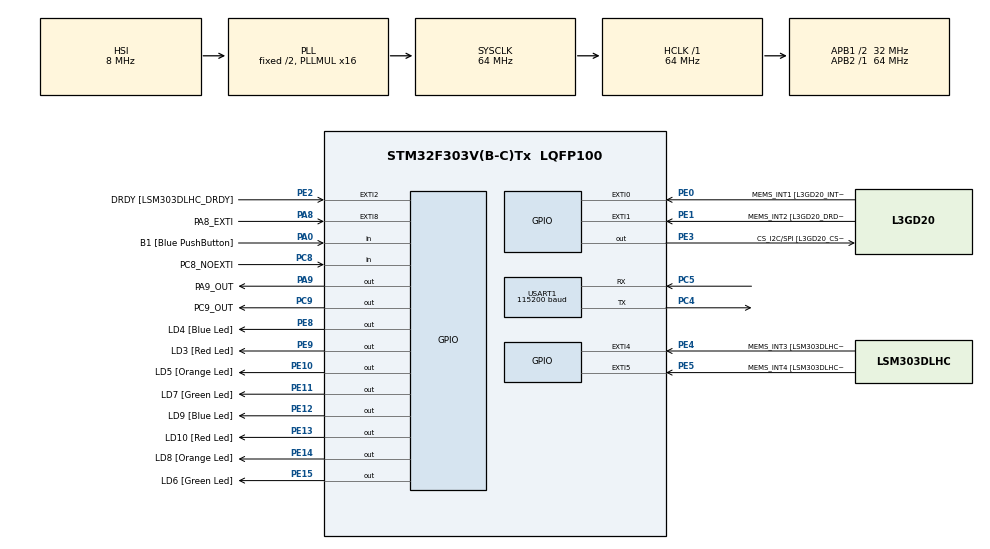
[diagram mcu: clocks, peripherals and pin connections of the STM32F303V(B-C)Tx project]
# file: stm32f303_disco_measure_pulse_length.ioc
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Mcu.Family=STM32F3
Mcu.Name=STM32F303V(B-C)Tx
Mcu.Package=LQFP100
NVIC.EXTI9_5_IRQn=true\:0\:0\:false\:false\:true\:true\:true\:true
NVIC.PriorityGroup=NVIC_PRIORITYGROUP_0
NVIC.TIM6_DAC_IRQn=true\:0\:0\:false\:false\:true\:true\:true\:true
PA0.GPIO_Label=B1 [Blue PushButton]
PA0.GPIO_Mode=GPIO_MODE_INPUT
PA0.GPIO_PuPd=GPIO_NOPULL
PA0.Signal=GPIO_Input
PA11.GPIO_Label=DM
PA11.Signal=USB_DM
PA12.GPIO_Label=DP
PA12.Signal=USB_DP
PA13.GPIO_Label=SWDIO
PA13.Mode=Trace_Asynchronous_SW
PA13.Signal=SYS_JTMS-SWDIO
PA14.GPIO_Label=SWCLK
PA14.Mode=Trace_Asynchronous_SW
PA14.Signal=SYS_JTCK-SWCLK
PA5.GPIO_Label=SPI1_SCK [L3GD20_SCL/SPC]
PA5.GPIO_Mode=GPIO_MODE_AF_PP
PA5.GPIO_PuPd=GPIO_NOPULL
PA5.GPIO_Speed=GPIO_SPEED_FREQ_LOW
PA5.Signal=SPI1_SCK
PA6.GPIO_Label=SPI1_MISO [L3GD20_SA0/SDO]
PA6.GPIO_Mode=GPIO_MODE_AF_PP
PA6.GPIO_PuPd=GPIO_NOPULL
PA6.GPIO_Speed=GPIO_SPEED_FREQ_LOW
PA6.Signal=SPI1_MISO
PA7.GPIO_Label=SPI1_MISO [L3GD20_SDA/SDI/SDO]
PA7.GPIO_Mode=GPIO_MODE_AF_PP
PA7.GPIO_PuPd=GPIO_NOPULL
PA7.GPIO_Speed=GPIO_SPEED_FREQ_LOW
PA7.Signal=SPI1_MOSI
PA8.GPIO_Label=PA8_EXTI
PA8.GPIO_ModeDefaultEXTI=GPIO_MODE_IT_RISING_FALLING
PA8.GPIO_PuPd=GPIO_PULLDOWN
PA8.Signal=GPXTI8
PA9.GPIO_Label=PA9_OUT
PA9.GPIO_PuPd=GPIO_PULLDOWN
PA9.Signal=GPIO_Output
PB3.GPIO_Label=SWO
PB3.Mode=Trace_Asynchronous_SW
PB3.Signal=SYS_JTDO-TRACESWO
PB6.GPIO_FM6=__NULL
PB6.GPIO_Label=I2C1_SCL [LSM303DLHC_SCL]
PB6.GPIO_Mode=GPIO_MODE_AF_OD
PB6.GPIO_PuPd=GPIO_NOPULL
PB6.GPIO_Speed=GPIO_SPEED_FREQ_LOW
PB6.Signal=I2C1_SCL
PB7.GPIO_FM7=__NULL
PB7.GPIO_Label=I2C1_SDA [LSM303DLHC_SDA]
PB7.GPIO_Mode=GPIO_MODE_AF_OD
PB7.GPIO_PuPd=GPIO_NOPULL
PB7.GPIO_Speed=GPIO_SPEED_FREQ_LOW
PB7.Signal=I2C1_SDA
PC14-OSC32_IN.GPIO_Label=OSC32_IN
PC14-OSC32_IN.Signal=RCC_OSC32_IN
PC15-OSC32_OUT.GPIO_Label=OSC32_OUT
PC15-OSC32_OUT.Signal=RCC_OSC32_OUT
PC4.Mode=Asynchronous
PC4.Signal=USART1_TX
PC5.Mode=Asynchronous
PC5.Signal=USART1_RX
PC8.GPIO_Label=PC8_NOEXTI
PC8.GPIO_PuPd=GPIO_PULLDOWN
PC8.Signal=GPIO_Input
PC9.GPIO_Label=PC9_OUT
PC9.GPIO_PuPd=GPIO_PULLDOWN
PC9.Signal=GPIO_Output
PE0.GPIO_Label=MEMS_INT1 [L3GD20_INT1]
PE0.GPIO_ModeDefaultEXTI=GPIO_MODE_EVT_RISING
PE0.GPIO_PuPd=GPIO_NOPULL
PE0.Signal=GPXTI0
PE1.GPIO_Label=MEMS_INT2 [L3GD20_DRDY/INT2]
PE1.GPIO_ModeDefaultEXTI=GPIO_MODE_EVT_RISING
PE1.GPIO_PuPd=GPIO_NOPULL
PE1.Signal=GPXTI1
PE10.GPIO_Label=LD5 [Orange Led]
PE10.GPIO_ModeDefaultOutputPP=GPIO_MODE_OUTPUT_PP
PE10.GPIO_PuPd=GPIO_NOPULL
PE10.GPIO_Speed=GPIO_SPEED_FREQ_LOW
PE10.Signal=GPIO_Output
PE11.GPIO_Label=LD7 [Green Led]
PE11.GPIO_ModeDefaultOutputPP=GPIO_MODE_OUTPUT_PP
PE11.GPIO_PuPd=GPIO_NOPULL
PE11.GPIO_Speed=GPIO_SPEED_FREQ_LOW
PE11.Signal=GPIO_Output
PE12.GPIO_Label=LD9 [Blue Led]
PE12.GPIO_ModeDefaultOutputPP=GPIO_MODE_OUTPUT_PP
PE12.GPIO_PuPd=GPIO_NOPULL
PE12.GPIO_Speed=GPIO_SPEED_FREQ_LOW
PE12.Signal=GPIO_Output
PE13.GPIO_Label=LD10 [Red Led]
PE13.GPIO_ModeDefaultOutputPP=GPIO_MODE_OUTPUT_PP
PE13.GPIO_PuPd=GPIO_NOPULL
PE13.GPIO_Speed=GPIO_SPEED_FREQ_LOW
PE13.Signal=GPIO_Output
PE14.GPIO_Label=LD8 [Orange Led]
PE14.GPIO_ModeDefaultOutputPP=GPIO_MODE_OUTPUT_PP
PE14.GPIO_PuPd=GPIO_NOPULL
PE14.GPIO_Speed=GPIO_SPEED_FREQ_LOW
PE14.Signal=GPIO_Output
PE15.GPIO_Label=LD6 [Green Led]
PE15.GPIO_ModeDefaultOutputPP=GPIO_MODE_OUTPUT_PP
PE15.GPIO_PuPd=GPIO_NOPULL
PE15.GPIO_Speed=GPIO_SPEED_FREQ_LOW
PE15.Signal=GPIO_Output
PE2.GPIO_Label=DRDY [LSM303DLHC_DRDY]
PE2.GPIO_ModeDefaultEXTI=GPIO_MODE_EVT_RISING
PE2.GPIO_PuPd=GPIO_NOPULL
PE2.Signal=GPXTI2
PE3.GPIO_Label=CS_I2C/SPI [L3GD20_CS_I2C/SPI]
PE3.GPIO_ModeDefaultOutputPP=GPIO_MODE_OUTPUT_PP
PE3.GPIO_PuPd=GPIO_NOPULL
PE3.GPIO_Speed=GPIO_SPEED_FREQ_LOW
PE3.Signal=GPIO_Output
PE4.GPIO_Label=MEMS_INT3 [LSM303DLHC_INT1]
PE4.GPIO_ModeDefaultEXTI=GPIO_MODE_EVT_RISING
PE4.GPIO_PuPd=GPIO_NOPULL
PE4.Signal=GPXTI4
PE5.GPIO_Label=MEMS_INT4 [LSM303DLHC_INT2]
PE5.GPIO_ModeDefaultEXTI=GPIO_MODE_EVT_RISING
PE5.GPIO_PuPd=GPIO_NOPULL
PE5.Signal=GPXTI5
PE8.GPIO_Label=LD4 [Blue Led]
PE8.GPIO_ModeDefaultOutputPP=GPIO_MODE_OUTPUT_PP
PE8.GPIO_PuPd=GPIO_NOPULL
PE8.GPIO_Speed=GPIO_SPEED_FREQ_LOW
PE8.Signal=GPIO_Output
PE9.GPIO_Label=LD3 [Red Led]
PE9.GPIO_ModeDefaultOutputPP=GPIO_MODE_OUTPUT_PP
PE9.GPIO_PuPd=GPIO_NOPULL
PE9.GPIO_Speed=GPIO_SPEED_FREQ_LOW
PE9.Signal=GPIO_Output
PF0-OSC_IN.GPIO_Label=OSC_IN
PF0-OSC_IN.Signal=RCC_OSC_IN
PF1-OSC_OUT.GPIO_Label=OSC_OUT
PF1-OSC_OUT.Signal=RCC_OSC_OUT
ProjectManager.HeapSize=0x200
ProjectManager.StackSize=0x400
ProjectManager.TargetToolchain=STM32CubeIDE
RCC.AHBFreq_Value=64000000
RCC.APB1CLKDivider=RCC_HCLK_DIV2
RCC.APB1Freq_Value=32000000
RCC.APB1TimFreq_Value=64000000
RCC.APB2Freq_Value=64000000
RCC.APB2TimFreq_Value=64000000
RCC.CortexFreq_Value=64000000
RCC.HCLKFreq_Value=64000000
RCC.HSE_VALUE=8000000
RCC.HSI_VALUE=8000000
RCC.LSE_VALUE=32768
RCC.PLLMUL=RCC_PLL_MUL16
RCC.SYSCLKFreq_VALUE=64000000
RCC.SYSCLKSourceVirtual=RCC_SYSCLKSOURCE_PLLCLK
RCC.USBFreq_Value=64000000
TIM6.Period=320-1
TIM6.Prescaler=1
TIM7.Prescaler=1
USART1.BaudRate=115200
USART1.OverrunDisableParam=ADVFEATURE_OVERRUN_DISABLE
USART1.VirtualMode-Asynchronous=VM_ASYNC
VP_TIM6_VS_ClockSourceINT.Mode=Enable_Timer
VP_TIM7_VS_ClockSourceINT.Mode=Enable_Timer
board=STM32F3DISCOVERY

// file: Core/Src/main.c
/* USER CODE BEGIN Header */
/**
  ******************************************************************************
  * @file           : main.c
  * @brief          : Main program body
  ******************************************************************************
  * @attention
  *
  * Copyright (c) 2023 STMicroelectronics.
  * All rights reserved.
  *
  * This software is licensed under terms that can be found in the LICENSE file
  * in the root directory of this software component.
  * If no LICENSE file comes with this software, it is provided AS-IS.
  *
  ******************************************************************************
  */
/* USER CODE END Header */
#include "main.h"
#include "tim.h"
#include "usart.h"
#include "gpio.h"

/* USER CODE BEGIN Includes */

#include <stdint.h>
#include <stdbool.h>
#include <stdio.h>
#include <string.h>

/* USER CODE END Includes */

void SystemClock_Config(void);

/* USER CODE BEGIN 0 */

volatile uint32_t tim6_cnt = 0; 	// 32e6 / 32e1 => 10us resolution
volatile bool pc8_pulse_detected = false;
volatile uint32_t pc8_pulse_duration = 0; 	// noexti --> detect in tim6_interrupt
volatile uint32_t pa8_pulse_duration = 0; 	// exti --> count based tim6
volatile uint32_t pc8_pulse_duration_rising_edge = 0;
volatile uint32_t pa8_pulse_duration_rising_edge = 0;

void HAL_GPIO_EXTI_Callback(uint16_t GPIO_Pin) {

	if(GPIO_Pin == PA8_EXTI_Pin) {
		if(HAL_GPIO_ReadPin(PA8_EXTI_GPIO_Port, PA8_EXTI_Pin) == GPIO_PIN_SET) {
			pa8_pulse_duration_rising_edge = tim6_cnt;
			// pa8_pulse_detected not needed, function called 2 times only --> @rising_edge and @falling_edge
		}
		if(HAL_GPIO_ReadPin(PA8_EXTI_GPIO_Port, PA8_EXTI_Pin) == GPIO_PIN_RESET) {
			if(tim6_cnt >= pa8_pulse_duration_rising_edge) {
				// no wrap around 1e6
				pa8_pulse_duration = tim6_cnt - pa8_pulse_duration_rising_edge;
			} else {
				// wrap around 1e6
				pa8_pulse_duration = 1000000 - pa8_pulse_duration_rising_edge + tim6_cnt;
			}
		}
	}

}

// valid range [0 ... 2047]
void delay_us(uint32_t us) {
	// NOTE: APB1 fmax = 32MHz, but timer clocks are x2 => 64MHz
	TIM7->CR1 = TIM_CR1_OPM_Msk; 	// one pulse mode, stop after ARR reached
	TIM7->SR = 0;
	TIM7->CNT = 0;
	TIM7->ARR = (us << 5) - 1; 		// 64MHz, prescaler = 2, 32 counts per 1us
	TIM7->CR1 = TIM_CR1_CEN_Msk; 	// start
	while(TIM7->SR != TIM_SR_UIF_Msk) {}
}

// without echo
int __io_putchar(int ch) {
	uint8_t u8 = ch;
	HAL_StatusTypeDef ret = HAL_UART_Transmit(&huart1, &u8, 1, HAL_MAX_DELAY);
	if(ret == HAL_OK) {
		return ch;
	} else {
		return -1;
	}
}

// with echo
int __io_getchar(void) {
	uint8_t ch = 0;
	HAL_StatusTypeDef ret = HAL_UART_Receive(&huart1, &ch, 1, HAL_MAX_DELAY);
	if(ret == HAL_OK) {
		// debug
		//HAL_GPIO_WritePin(LD7_GPIO_Port, LD7_Pin, GPIO_PIN_SET);
		return ch;
	} else {
		// debug
		//HAL_GPIO_WritePin(LD5_GPIO_Port, LD5_Pin, GPIO_PIN_SET);
		return -1;
	}
}

int __io_getchar_(void) {
	uint8_t ch = 0;
	HAL_StatusTypeDef hstatus1;
	HAL_StatusTypeDef hstatus2;
	//__HAL_UART_CLEAR_OREFLAG(&huart1);
	hstatus1 = HAL_UART_Receive(&huart1, (uint8_t *)&ch, 1, HAL_MAX_DELAY);
	hstatus2 = HAL_UART_Transmit(&huart1, (uint8_t *)&ch, 1, HAL_MAX_DELAY);
	if((hstatus1 == HAL_OK) && (hstatus2 == HAL_OK)) {
		return ch;
	}
	return -1;
}

/* USER CODE END 0 */

int main(void)
{

  /* MCU Configuration--------------------------------------------------------*/

  /* Reset of all peripherals, Initializes the Flash interface and the Systick. */
  HAL_Init();

  /* Configure the system clock */
  SystemClock_Config();

  /* Initialize all configured peripherals */
  MX_GPIO_Init();
  MX_USART1_UART_Init();
  MX_TIM6_Init();
  MX_TIM7_Init();

  /* Infinite loop */
  /* USER CODE BEGIN WHILE */

  // scanf buffer disabled => _IONBF
  //setvbuf(stdin, NULL, _IONBF, 0);
  // scanf buffer user provided => _IOFBF, evaluated only when full
  //uint8_t stdin_buffer[2] = {0};
  uint8_t stdin_buffer[1] = {0};
  setvbuf(stdin, (char*)&stdin_buffer[0], _IOFBF, sizeof(stdin_buffer));

  uint32_t cnt = 0;
  while (1)
  {
	  HAL_Delay(100);
	  cnt += 1;
	  printf("cnt = %lu, tim6 = %5lu, tim6_cnt = %7lu, pc8_pd = %lu, pa8_pd = %lu\n",
			  cnt, TIM6->CNT, tim6_cnt, pc8_pulse_duration*10, pa8_pulse_duration*10);

	  if(USART1->ISR & USART_ISR_RXNE_Msk) {
		  // USART1->ISR &= ~USART_ISR_RXNE_Msk; 	// does not clear the bit
		  // this bit is cleared by reading from RDR
		  //uint8_t ch = USART1->RDR;
		  // or by writing to RQR
		  //USART1->RQR |= USART_RQR_RXFRQ_Msk;
		  // or one of above will be done implicitly by using getchar
		  // however when using getchar the input buffer is used and its must be set to 1 via
		  // setvbuf(stdin, (char*)&stdin_buffer[0], _IOFBF, 1);
		  // or the input buffer must be disabled via
		  // setvbuf(stdin, NULL, _IONBF, 0);
		  // NOTE: in non-interrupt modus with delay in main loop the input buffer not fast enough
		  uint8_t u8 = getchar();

		  switch(u8) {
		  case 'r':
			  cnt = 0;
			  break;
		  case 's':
			  // HAL_TIM_Base_Start(&htim6);
			  HAL_TIM_Base_Start_IT(&htim6);
			  // HAL_NVIC_EnableIRQ(TIM6_DAC_IRQn); 	// already done in tim.c
			  break;
		  case 'S':
			  break;
		  case '0':
			  pc8_pulse_duration = 0;
			  pa8_pulse_duration = 0;
			  break;
		  case '1':
			  HAL_GPIO_WritePin(PC9_OUT_GPIO_Port, PC9_OUT_Pin, GPIO_PIN_SET);
			  HAL_GPIO_WritePin(PA9_OUT_GPIO_Port, PA9_OUT_Pin, GPIO_PIN_SET);
			  //HAL_Delay(1);
			  delay_us(1000);
			  HAL_GPIO_WritePin(PC9_OUT_GPIO_Port, PC9_OUT_Pin, GPIO_PIN_RESET);
			  HAL_GPIO_WritePin(PA9_OUT_GPIO_Port, PA9_OUT_Pin, GPIO_PIN_RESET);
			  break;
		  case '2':
			  HAL_GPIO_WritePin(PC9_OUT_GPIO_Port, PC9_OUT_Pin, GPIO_PIN_SET);
			  HAL_GPIO_WritePin(PA9_OUT_GPIO_Port, PA9_OUT_Pin, GPIO_PIN_SET);
			  //HAL_Delay(2);
			  delay_us(2000);
			  HAL_GPIO_WritePin(PC9_OUT_GPIO_Port, PC9_OUT_Pin, GPIO_PIN_RESET);
			  HAL_GPIO_WritePin(PA9_OUT_GPIO_Port, PA9_OUT_Pin, GPIO_PIN_RESET);
			  break;
		  case '3':
			  HAL_GPIO_WritePin(PC9_OUT_GPIO_Port, PC9_OUT_Pin, GPIO_PIN_SET);
			  HAL_GPIO_WritePin(PA9_OUT_GPIO_Port, PA9_OUT_Pin, GPIO_PIN_SET);
			  //HAL_Delay(3);
			  delay_us(1000);
			  delay_us(2000);
			  HAL_GPIO_WritePin(PC9_OUT_GPIO_Port, PC9_OUT_Pin, GPIO_PIN_RESET);
			  HAL_GPIO_WritePin(PA9_OUT_GPIO_Port, PA9_OUT_Pin, GPIO_PIN_RESET);
			  break;
		  case '4':
			  HAL_GPIO_WritePin(PC9_OUT_GPIO_Port, PC9_OUT_Pin, GPIO_PIN_SET);
			  HAL_GPIO_WritePin(PA9_OUT_GPIO_Port, PA9_OUT_Pin, GPIO_PIN_SET);
			  //HAL_Delay(4);
			  delay_us(2000);
			  delay_us(2000);
			  HAL_GPIO_WritePin(PC9_OUT_GPIO_Port, PC9_OUT_Pin, GPIO_PIN_RESET);
			  HAL_GPIO_WritePin(PA9_OUT_GPIO_Port, PA9_OUT_Pin, GPIO_PIN_RESET);
			  break;
		  case '5':
			  HAL_GPIO_WritePin(PC9_OUT_GPIO_Port, PC9_OUT_Pin, GPIO_PIN_SET);
			  HAL_GPIO_WritePin(PA9_OUT_GPIO_Port, PA9_OUT_Pin, GPIO_PIN_SET);
			  //HAL_Delay(5);
			  delay_us(1000);
			  delay_us(2000);
			  delay_us(2000);
			  HAL_GPIO_WritePin(PC9_OUT_GPIO_Port, PC9_OUT_Pin, GPIO_PIN_RESET);
			  HAL_GPIO_WritePin(PA9_OUT_GPIO_Port, PA9_OUT_Pin, GPIO_PIN_RESET);
			  break;
		  case '6':
			  break;
		  case '7':
			  break;
		  case '8':
			  break;
		  case '9':
			  break;
		  case 'a':
			  HAL_GPIO_WritePin(LD10_GPIO_Port, LD10_Pin, GPIO_PIN_SET);
			  break;
		  case 'b':
			  HAL_GPIO_WritePin(LD10_GPIO_Port, LD10_Pin, GPIO_PIN_RESET);
			  break;
		  default:
			  break;
		  }

		  // debug purpose
		  //HAL_GPIO_TogglePin(LD10_GPIO_Port, LD10_Pin);

	  }

    /* USER CODE END WHILE */

  }
}

void SystemClock_Config(void)
{
  RCC_OscInitTypeDef RCC_OscInitStruct = {0};
  RCC_ClkInitTypeDef RCC_ClkInitStruct = {0};
  RCC_PeriphCLKInitTypeDef PeriphClkInit = {0};

  /** Initializes the RCC Oscillators according to the specified parameters
  * in the RCC_OscInitTypeDef structure.
  */
  RCC_OscInitStruct.OscillatorType = RCC_OSCILLATORTYPE_HSI;
  RCC_OscInitStruct.HSIState = RCC_HSI_ON;
  RCC_OscInitStruct.HSICalibrationValue = RCC_HSICALIBRATION_DEFAULT;
  RCC_OscInitStruct.PLL.PLLState = RCC_PLL_ON;
  RCC_OscInitStruct.PLL.PLLSource = RCC_PLLSOURCE_HSI;
  RCC_OscInitStruct.PLL.PLLMUL = RCC_PLL_MUL16;
  if (HAL_RCC_OscConfig(&RCC_OscInitStruct) != HAL_OK)
  {
    Error_Handler();
  }

  /** Initializes the CPU, AHB and APB buses clocks
  */
  RCC_ClkInitStruct.ClockType = RCC_CLOCKTYPE_HCLK|RCC_CLOCKTYPE_SYSCLK
                              |RCC_CLOCKTYPE_PCLK1|RCC_CLOCKTYPE_PCLK2;
  RCC_ClkInitStruct.SYSCLKSource = RCC_SYSCLKSOURCE_PLLCLK;
  RCC_ClkInitStruct.AHBCLKDivider = RCC_SYSCLK_DIV1;
  RCC_ClkInitStruct.APB1CLKDivider = RCC_HCLK_DIV2;
  RCC_ClkInitStruct.APB2CLKDivider = RCC_HCLK_DIV1;

  if (HAL_RCC_ClockConfig(&RCC_ClkInitStruct, FLASH_LATENCY_2) != HAL_OK)
  {
    Error_Handler();
  }
  PeriphClkInit.PeriphClockSelection = RCC_PERIPHCLK_USART1;
  PeriphClkInit.Usart1ClockSelection = RCC_USART1CLKSOURCE_PCLK2;
  if (HAL_RCCEx_PeriphCLKConfig(&PeriphClkInit) != HAL_OK)
  {
    Error_Handler();
  }
}

void Error_Handler(void)
{
  __disable_irq();
  while (1)
  {
  }
}
